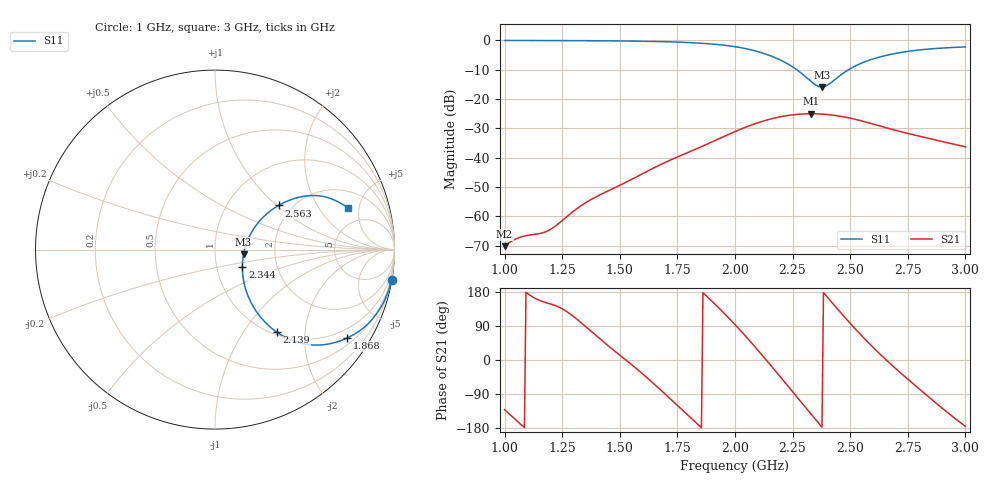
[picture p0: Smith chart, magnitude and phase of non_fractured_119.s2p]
! TOUCHSTONE file generated by CST MICROWAVE STUDIO
! Date and time: Sat Mar  8 13:54:47 2025
! Project name: non_fractured.cst
! Parameters = {B=2.5; D=160; F=15; Feed=2.85625; L=100; M=10; R=0.384908; S=1.5; Theta=180; length=57.125; wave=114.25}
! Header version: 2024
! Port assignment regex: !\s*Touchstone port\s*([0-9]+)\s*=\s*(CST MWS port|CST DES external port|CST DES block port)\s*(.+)\s* \(\"(.*)\"\)(\s*mode\s*([0-9]+))?.*
! Touchstone port assignment:
! Touchstone port 1 = CST MWS port 1 ("")
! Touchstone port 2 = CST MWS port 2 ("")
# GHz S DB R 50
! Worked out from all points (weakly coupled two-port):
!   303 points, 1 GHz to 3 GHz, reference 50 ohm
!   highest |S21| = -24.99 dB at 2.331 GHz (marker M1); lowest = -70.1 dB at 1 GHz (marker M2)
!   lowest |S11| = -15.9 dB at 2.377 GHz (marker M3), VSWR 1.38, Z = 68.8 - j3.65 ohm
!   |S11| at or under -10 dB: 2.268 GHz to 2.493 GHz (224.6 MHz wide, 9.43 % of centre)
!   S12 and S22 are empty: the file has one direction only
!   S11 on the Smith chart (normalised r, x): 1 GHz: 0, -12; 1.868 GHz: 0.69, -3.16; 2.139 GHz: 1.04, -1.43; 2.344 GHz: 1.33, -0.27; 2.563 GHz: 1.70, +1.03; 3 GHz: 3.25, +3.81
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1  -0.02 -9.8  -70.12 -131.1  -200.00 0.0  -200.00 0.0
1.03311  -0.02 -10.2  -68.27 -149.5  -200.00 0.0  -200.00 0.0
1.06623  -0.03 -10.7  -67.10 -167.8  -200.00 0.0  -200.00 0.0
1.15894  -0.04 -12.0  -65.71 155.5  -200.00 0.0  -200.00 0.0
1.19205  -0.05 -12.6  -64.72 149.3  -200.00 0.0  -200.00 0.0
1.33775  -0.09 -15.2  -56.02 95.4  -200.00 0.0  -200.00 0.0
1.66887  -0.39 -24.3  -42.62 -74.3  -200.00 0.0  -200.00 0.0
1.86755  -1.05 -33.7  -35.75 173.8  -200.00 0.0  -200.00 0.0
2  -2.13 -42.8  -31.07 93.4  -200.00 0.0  -200.00 0.0
2.07285  -3.27 -48.6  -28.78 44.4  -200.00 0.0  -200.00 0.0
2.13907  -4.82 -53.2  -27.11 -2.5  -200.00 0.0  -200.00 0.0
2.23841  -8.45 -56.1  -25.49 -75.1  -200.00 0.0  -200.00 0.0
2.33113  -14.05 -39.4  -24.99 -143.5  -200.00 0.0  -200.00 0.0
2.33775  -14.47 -36.1  -24.99 -148.3  -200.00 0.0  -200.00 0.0
2.34437  -14.86 -32.5  -25.00 -153.2  -200.00 0.0  -200.00 0.0
2.37748  -15.85 -9.2  -25.11 -177.3  -200.00 0.0  -200.00 0.0
2.40397  -15.11 9.4  -25.28 163.6  -200.00 0.0  -200.00 0.0
2.4702  -11.16 31.5  -26.02 117.1  -200.00 0.0  -200.00 0.0
2.56291  -7.31 34.8  -27.71 55.8  -200.00 0.0  -200.00 0.0
2.66887  -4.89 31.3  -30.05 -6.9  -200.00 0.0  -200.00 0.0
2.82119  -3.08 24.0  -33.01 -87.6  -200.00 0.0  -200.00 0.0
3  -2.21 17.6  -36.25 -175.1  -200.00 0.0  -200.00 0.0
